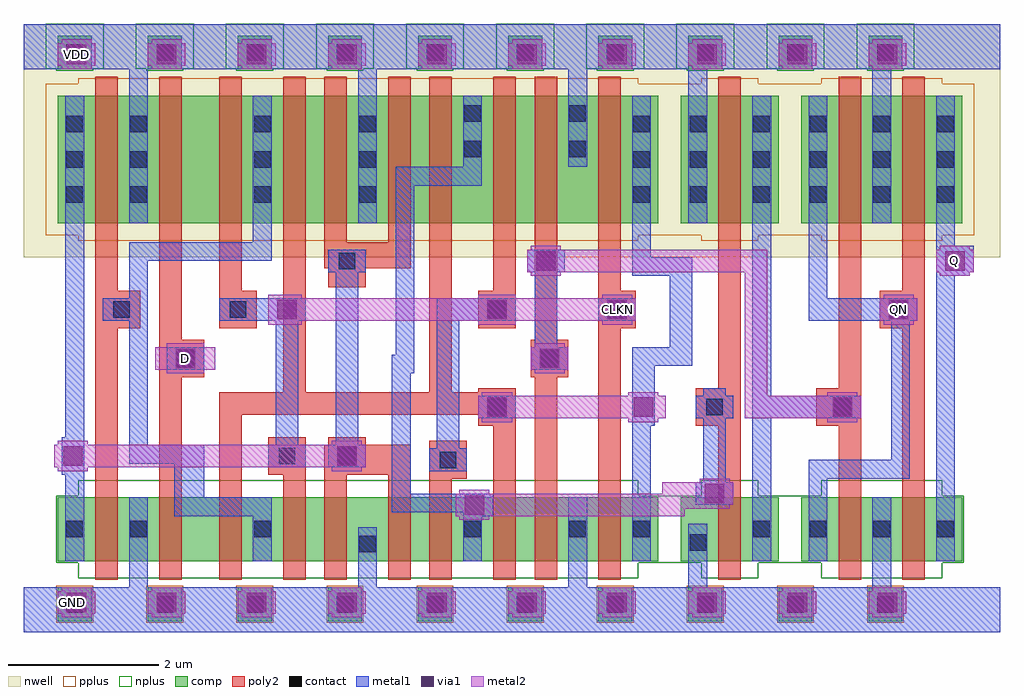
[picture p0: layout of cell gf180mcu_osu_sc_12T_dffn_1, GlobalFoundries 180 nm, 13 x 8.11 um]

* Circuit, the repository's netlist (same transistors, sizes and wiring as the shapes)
.inc "../../char/techfiles/design.hspice"
.lib "../../char/techfiles/sm141064.hspice" typical

.GLOBAL VDD
.GLOBAL GND

.option scale=0.05u

.subckt gf180mcu_osu_sc_12T_dffn_1 D Q QN CLKN
X0 a_19_11 CLKN a_42_106 VDD pmos_3p3 w=34 l=6
X1 a_75_106 a_52_11 a_19_11 VDD pmos_3p3 w=34 l=6
X2 a_135_65 a_114_16 VDD VDD pmos_3p3 w=34 l=6
X3 Q QN GND GND nmos_3p3 w=17 l=6
X4 a_131_16 a_52_11 a_114_16 GND nmos_3p3 w=17 l=6
X5 a_42_106 D VDD VDD pmos_3p3 w=34 l=6
X6 a_135_65 a_114_16 GND GND nmos_3p3 w=17 l=6
X7 VDD a_19_11 a_9_16 VDD pmos_3p3 w=34 l=6
X8 a_75_16 CLKN a_19_11 GND nmos_3p3 w=17 l=6
X9 GND a_135_65 a_131_16 GND nmos_3p3 w=17 l=6
X10 a_19_11 a_52_11 a_42_16 GND nmos_3p3 w=17 l=6
X11 GND a_19_11 a_9_16 GND nmos_3p3 w=17 l=6
X12 a_52_11 CLKN VDD VDD pmos_3p3 w=34 l=6
X13 VDD a_135_65 a_131_106 VDD pmos_3p3 w=34 l=6
X14 a_131_106 CLKN a_114_16 VDD pmos_3p3 w=34 l=6
X15 GND a_135_65 QN GND nmos_3p3 w=17 l=6
X16 a_114_16 a_52_11 a_103_106 VDD pmos_3p3 w=34 l=6
X17 a_114_16 CLKN a_103_16 GND nmos_3p3 w=17 l=6
X18 a_52_11 CLKN GND GND nmos_3p3 w=17 l=6
X19 a_42_16 D GND GND nmos_3p3 w=17 l=6
X20 VDD a_9_16 a_75_106 VDD pmos_3p3 w=34 l=6
X21 a_103_106 a_9_16 VDD VDD pmos_3p3 w=34 l=6
X22 a_103_16 a_9_16 GND GND nmos_3p3 w=17 l=6
X23 Q QN VDD VDD pmos_3p3 w=34 l=6
X24 VDD a_135_65 QN VDD pmos_3p3 w=34 l=6
X25 GND a_9_16 a_75_16 GND nmos_3p3 w=17 l=6
.ends

** hspice subcircuit dictionary

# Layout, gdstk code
import gdstk
lib = gdstk.Library(unit=1e-6, precision=1e-09)
def R(c, l, rs):  # rectangles x0, y0, x1, y1
    for r in rs: c.add(gdstk.rectangle(r[:2], r[2:], *l))
def A(c, l, x, y, w, h, nx, ny, dx, dy):  # array of equal rectangles
    R(c, l, [(x+i*dx, y+j*dy, x+i*dx+w, y+j*dy+h) for i in range(nx) for j in range(ny)])
nwell = (21, 0)
comp = (22, 0)
poly2 = (30, 0)
pplus = (31, 0)
nplus = (32, 0)
contact = (33, 0)
metal1 = (34, 0)
via1 = (35, 0)
metal2 = (36, 0)

gf180mcu_osu_sc_12t_dffn = lib.new_cell('gf180mcu_osu_sc_12T_dffn_1')
R(gf180mcu_osu_sc_12t_dffn, nwell, [(0,4.85,13,7.95)])
A(gf180mcu_osu_sc_12t_dffn, comp, 0.45, 0, 0.45, 0.45, 10, 2, 1.2, 7.35)
R(gf180mcu_osu_sc_12t_dffn, comp, [(0.45,0.8,8.45,1.65), (8.75,0.8,10.05,1.65), (10.35,0.8,12.5,1.65), (0.45,5.3,8.45,7), (8.75,5.3,10.05,7), (10.35,5.3,12.5,7)])
R(gf180mcu_osu_sc_12t_dffn, poly2, [(0.95,0.55,1.25,3.9), (1.8,0.55,2.1,3.25), (2.6,0.55,2.9,2.75), (3.45,0.55,3.75,1.95), (4,0.55,4.3,1.95), (4.85,0.55,5.15,1.95), (5.4,0.55,5.7,1.9), (6.25,0.55,6.55,2.6), (6.8,0.55,7.1,3.25), (7.65,0.55,7.95,3.9), (9.25,0.55,9.55,2.6), (10.85,0.55,11.15,2.6), (11.7,0.55,12,3.9), (5.4,1.9,5.9,2.4), (3.25,1.95,3.75,2.45), (4,1.95,5.15,2.35), (4.05,2.35,4.55,2.45), (6.05,2.6,6.55,2.75), (8.95,2.6,9.55,3.1), (10.55,2.6,11.15,3.1), (2.6,2.75,6.55,3.05), (3.45,3.05,3.75,7.25), (5.4,3.05,5.7,7.25), (6.05,3.05,6.55,3.1), (9.25,3.1,9.55,7.25), (10.85,3.1,11.15,7.25), (1.8,3.25,2.4,3.75), (6.75,3.25,7.25,3.75), (1.8,3.75,2.1,7.25), (6.8,3.75,7.1,7.25), (0.95,3.9,1.55,4.4), (2.6,3.9,3.1,4.4), (6.05,3.9,6.55,4.4), (7.65,3.9,8.15,4.4), (11.4,3.9,12,4.4), (0.95,4.4,1.25,7.25), (2.6,4.4,2.9,7.25), (6.25,4.4,6.55,7.25), (7.65,4.4,7.95,7.25), (11.7,4.4,12,7.25), (4.05,4.45,4.55,4.7), (4,4.7,5.15,5.05), (4,5.05,4.3,7.25), (4.85,5.05,5.15,7.25)])
A(gf180mcu_osu_sc_12t_dffn, pplus, 0.43, -0.02, 0.49, 0.49, 10, 1, 1.2, 0)
R(gf180mcu_osu_sc_12t_dffn, pplus, [(0.72,5.07,8.18,5.14), (9.02,5.07,9.78,5.14), (10.62,5.07,12.23,5.14), (0.29,5.14,12.66,7.16), (0.72,7.16,8.18,7.23), (9.02,7.16,9.78,7.23), (10.62,7.16,12.23,7.23)])
A(gf180mcu_osu_sc_12t_dffn, nplus, 0.43, 7.33, 0.49, 0.03, 10, 1, 1.2, 0)
A(gf180mcu_osu_sc_12t_dffn, nplus, 0.29, 7.36, 0.77, 0.6, 10, 1, 1.2, 0)
R(gf180mcu_osu_sc_12t_dffn, nplus, [(0.72,0.57,8.18,0.78), (9.02,0.57,9.78,0.78), (10.62,0.57,12.23,0.78), (0.43,0.78,12.52,1.67), (0.72,1.67,8.18,1.88), (9.02,1.67,9.78,1.88), (10.62,1.67,12.23,1.88)])
A(gf180mcu_osu_sc_12t_dffn, contact, 0.565, 0.115, 0.22, 0.22, 10, 2, 1.2, 7.35)
A(gf180mcu_osu_sc_12t_dffn, contact, 10.465, 1.115, 0.22, 0.22, 3, 2, 0.85, 4.455)
A(gf180mcu_osu_sc_12t_dffn, contact, 0.565, 5.57, 0.22, 0.22, 1, 3, 0, 0.47)
A(gf180mcu_osu_sc_12t_dffn, contact, 1.415, 5.57, 0.22, 0.22, 1, 3, 0, 0.47)
A(gf180mcu_osu_sc_12t_dffn, contact, 3.065, 5.57, 0.22, 0.22, 1, 3, 0, 0.47)
A(gf180mcu_osu_sc_12t_dffn, contact, 4.465, 5.57, 0.22, 0.22, 1, 3, 0, 0.47)
A(gf180mcu_osu_sc_12t_dffn, contact, 8.115, 5.57, 0.22, 0.22, 1, 3, 0, 0.47)
A(gf180mcu_osu_sc_12t_dffn, contact, 8.865, 5.57, 0.22, 0.22, 1, 3, 0, 0.47)
A(gf180mcu_osu_sc_12t_dffn, contact, 9.715, 5.57, 0.22, 0.22, 1, 3, 0, 0.47)
A(gf180mcu_osu_sc_12t_dffn, contact, 10.465, 6.04, 0.22, 0.22, 3, 2, 0.85, 0.47)
R(gf180mcu_osu_sc_12t_dffn, contact, [(4.465,0.915,4.685,1.135), (8.865,0.94,9.085,1.16), (0.565,1.115,0.785,1.335), (1.415,1.115,1.635,1.335), (3.065,1.115,3.285,1.335), (5.865,1.115,6.085,1.335), (7.265,1.115,7.485,1.335), (8.115,1.115,8.335,1.335), (9.715,1.115,9.935,1.335), (5.54,2.04,5.76,2.26), (3.39,2.09,3.61,2.31), (4.19,2.09,4.41,2.31), (6.19,2.74,6.41,2.96), (9.09,2.74,9.31,2.96), (10.79,2.74,11.01,2.96), (2.04,3.39,2.26,3.61), (6.89,3.39,7.11,3.61), (1.19,4.04,1.41,4.26), (2.74,4.04,2.96,4.26), (6.19,4.04,6.41,4.26), (7.79,4.04,8.01,4.26), (11.54,4.04,11.76,4.26), (4.19,4.69,4.41,4.91), (5.865,6.18,6.085,6.4), (7.265,6.18,7.485,6.4), (5.865,6.65,6.085,6.87), (7.265,6.65,7.485,6.87)])
R(gf180mcu_osu_sc_12t_dffn, metal1, [(0,-0.15,13,0.45), (1.4,0.45,1.65,1.65), (4.45,0.45,4.7,1.25), (7.25,0.45,7.5,1.65), (8.85,0.45,9.1,1.3), (11.3,0.45,11.55,1.65), (0.55,0.8,0.8,1.95), (3.05,0.8,3.3,1.4), (5.85,0.8,6.1,1.4), (8.1,0.8,8.35,2.6), (9.7,0.8,9.95,2.7), (10.45,0.8,10.7,1.9), (12.15,0.8,12.4,4.6), (2,1.4,3.3,1.65), (5.85,1.4,6.25,1.45), (4.9,1.45,6.25,1.7), (8.95,1.55,9.45,1.85), (2,1.65,2.4,2.1), (4.9,1.7,5.15,3.3), (9.05,1.85,9.35,2.7), (10.45,1.9,11.8,2.15), (0.5,1.95,0.8,2.45), (5.4,2,5.9,2.3), (3.25,2.05,3.75,2.35), (4.05,2.05,4.55,2.35), (1.4,2.1,2.4,2.35), (11.55,2.15,11.8,4), (5.5,2.3,5.8,4), (1.4,2.35,1.65,4), (3.35,2.35,3.65,4), (4.15,2.35,4.45,4.65), (0.55,2.45,0.8,7), (8.1,2.6,8.4,3.4), (6.05,2.7,6.55,3), (8.95,2.7,9.45,3), (9.7,2.7,11.15,3), (9.05,3,9.35,3.1), (9.7,3,9.95,7), (4.9,3.3,5.2,3.55), (1.9,3.35,2.4,3.65), (6.75,3.35,7.25,3.65), (8.1,3.4,8.9,3.65), (4.95,3.55,5.2,5.8), (6.8,3.65,7.1,4.65), (8.6,3.65,8.9,4.6), (1.05,4,1.65,4.3), (2.6,4,3.75,4.3), (5.5,4,6.55,4.3), (7.65,4,8.15,4.3), (10.45,4,11.9,4.3), (1.4,4.3,1.65,4.8), (10.45,4.3,10.7,7), (8.1,4.6,8.9,4.85), (12.15,4.6,12.6,4.65), (4.05,4.65,4.55,4.95), (6.7,4.65,7.2,4.95), (12.15,4.65,12.65,5), (1.4,4.8,3.3,5.05), (8.1,4.85,8.35,7), (12.15,5,12.4,7), (3.05,5.05,3.3,7), (1.4,5.3,1.65,7.35), (4.45,5.3,4.7,7.35), (8.85,5.3,9.1,7.35), (11.3,5.3,11.55,7.35), (4.95,5.8,6.1,6.05), (5.85,6.05,6.1,7), (7.25,6.05,7.5,7.35), (0,7.35,13,7.95)])
A(gf180mcu_osu_sc_12t_dffn, via1, 0.57, 0.12, 0.26, 0.26, 10, 2, 1.2, 7.3)
R(gf180mcu_osu_sc_12t_dffn, via1, [(5.87,1.42,6.13,1.68), (9.07,1.57,9.33,1.83), (0.52,2.07,0.78,2.33), (4.17,2.07,4.43,2.33), (6.17,2.72,6.43,2.98), (8.12,2.72,8.38,2.98), (10.77,2.72,11.03,2.98), (2.02,3.37,2.28,3.63), (6.87,3.37,7.13,3.63), (3.37,4.02,3.63,4.28), (6.17,4.02,6.43,4.28), (7.77,4.02,8.03,4.28), (11.52,4.02,11.78,4.28), (6.82,4.67,7.08,4.93), (12.27,4.67,12.53,4.93)])
A(gf180mcu_osu_sc_12t_dffn, metal2, 0.5, 0.05, 0.4, 0.05, 10, 2, 1.2, 0.35)
A(gf180mcu_osu_sc_12t_dffn, metal2, 0.45, 0.1, 0.5, 0.3, 10, 2, 1.2, 7.3)
A(gf180mcu_osu_sc_12t_dffn, metal2, 0.5, 7.35, 0.4, 0.05, 10, 2, 1.2, 0.35)
R(gf180mcu_osu_sc_12t_dffn, metal2, [(5.8,1.35,6.2,1.4), (5.75,1.4,8.8,1.5), (5.75,1.5,9.4,1.55), (5.75,1.55,9.45,1.7), (5.8,1.7,6.2,1.75), (8.5,1.7,9.45,1.85), (9,1.85,9.4,1.9), (0.45,2,0.85,2.05), (4.1,2,4.5,2.05), (0.4,2.05,4.55,2.35), (0.45,2.35,0.85,2.4), (4.1,2.35,4.5,2.4), (6.1,2.65,6.5,2.7), (8.05,2.65,8.45,2.7), (10.7,2.65,11.1,2.7), (6.05,2.7,8.55,3), (9.6,2.7,11.15,3), (6.1,3,6.5,3.05), (8.05,3,8.45,3.05), (9.6,3,9.9,4.65), (10.7,3,11.1,3.05), (1.9,3.3,2.4,3.35), (6.8,3.3,7.2,3.35), (1.75,3.35,2.55,3.65), (6.75,3.35,7.25,3.65), (1.9,3.65,2.4,3.7), (6.8,3.65,7.2,3.7), (3.25,3.95,3.7,4), (6.05,3.95,6.55,4), (7.7,3.95,8.1,4), (11.45,3.95,11.85,4), (3.25,4,8.15,4.3), (11.4,4,11.9,4.3), (3.25,4.3,3.7,4.35), (6.05,4.3,6.55,4.35), (7.7,4.3,8.1,4.35), (11.45,4.3,11.85,4.35), (6.75,4.6,7.15,4.65), (12.2,4.6,12.6,4.65), (6.7,4.65,9.9,4.95), (12.15,4.65,12.65,4.95), (6.75,4.95,7.15,5), (12.2,4.95,12.6,5)])
gf180mcu_osu_sc_12t_dffn.add(gdstk.Label('GND', (0.65,0.25), layer=36, texttype=0))
gf180mcu_osu_sc_12t_dffn.add(gdstk.Label('VDD', (0.7,7.55), layer=36, texttype=0))
gf180mcu_osu_sc_12t_dffn.add(gdstk.Label('D', (2.15,3.5), layer=36, texttype=10))
gf180mcu_osu_sc_12t_dffn.add(gdstk.Label('Q', (12.4,4.8), layer=36, texttype=10))
gf180mcu_osu_sc_12t_dffn.add(gdstk.Label('QN', (11.65,4.15), layer=36, texttype=10))
gf180mcu_osu_sc_12t_dffn.add(gdstk.Label('CLKN', (7.9,4.15), layer=36, texttype=10))

lib.write_gds('gf180mcu_osu_sc_12T_dffn_1.gds')
